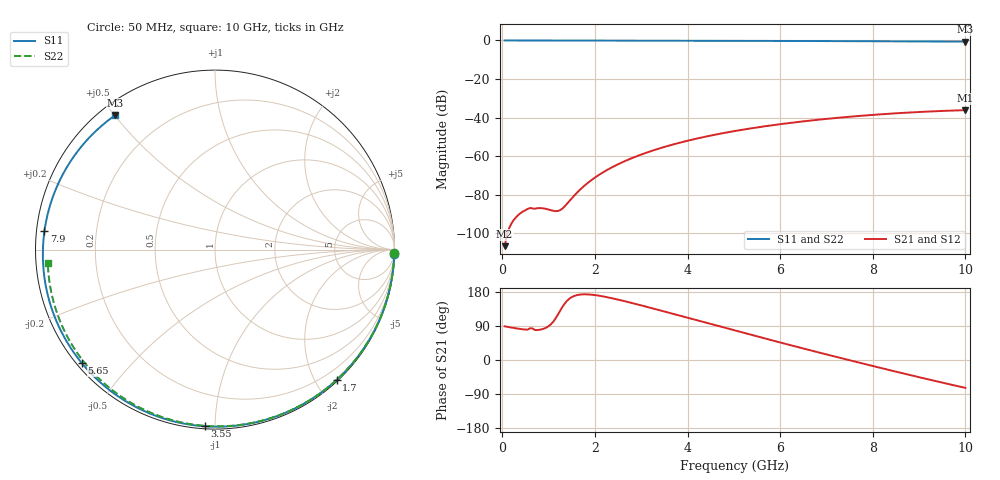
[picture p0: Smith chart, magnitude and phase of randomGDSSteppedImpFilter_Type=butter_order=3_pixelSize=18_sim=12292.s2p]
! freq	dB(S11)	phase(S11)	dB(S12)	phase(S12)
!  dB(S21)	phase(S21)	dB(S22)	phase(S22)
!S-par simulation data
#  GHz  S  DB  R 50
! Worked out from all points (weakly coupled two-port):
!   200 points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, 50 MHz to 10 GHz, reference 50 ohm
!   highest |S21| = -36.11 dB at 10 GHz (marker M1); lowest = -106.6 dB at 50 MHz (marker M2)
!   lowest |S11| = -0.6 dB at 10 GHz (marker M3), VSWR 28.63, Z = 2.19 + j25.2 ohm
!   |S11| at or under -10 dB: nowhere
!   |S22| runs from -0.6 to 0.0 dB; largest |S21 - S12| = 0
!   S11 on the Smith chart (normalised r, x): 50 MHz: 1, -83; 1.7 GHz: 0.02, -2.30; 3.55 GHz: 0.01, -0.94; 5.65 GHz: 0.01, -0.37; 7.9 GHz: 0.02, +0.05; 10 GHz: 0.04, +0.50
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0.05  -0.00 -1.4  -106.61 88.9  -106.61 88.9  -0.00 -0.9
0.4  -0.02 -11.3  -89.39 81.7  -89.39 81.7  -0.01 -7.8
0.75  -0.03 -21.1  -86.94 79.0  -86.94 79.0  -0.02 -14.6
1.15  -0.04 -32.2  -88.46 109.5  -88.46 109.5  -0.03 -22.3
1.55  -0.05 -43.0  -80.49 168.8  -80.49 168.8  -0.04 -29.9
1.7  -0.06 -47.0  -76.85 172.9  -76.85 172.9  -0.04 -32.7
1.75  -0.06 -48.4  -75.76 173.3  -75.76 173.3  -0.04 -33.7
2.05  -0.07 -56.2  -70.25 170.4  -70.25 170.4  -0.05 -39.3
2.45  -0.08 -66.5  -64.75 160.8  -64.75 160.8  -0.06 -46.7
2.9  -0.10 -77.7  -60.02 147.3  -60.02 147.3  -0.07 -54.9
3.4  -0.12 -89.8  -55.90 131.2  -55.90 131.2  -0.08 -63.9
3.55  -0.12 -93.3  -54.83 126.3  -54.83 126.3  -0.09 -66.6
4.25  -0.15 -109.3  -50.58 103.2  -50.58 103.2  -0.11 -78.8
5.05  -0.19 -126.8  -46.82 76.9  -46.82 76.9  -0.14 -92.4
5.65  -0.22 -139.5  -44.55 57.4  -44.55 57.4  -0.17 -102.4
6.2  -0.26 -150.9  -42.78 39.8  -42.78 39.8  -0.20 -111.4
6.7  -0.29 -161.2  -41.39 24.1  -41.39 24.1  -0.24 -119.5
7.3  -0.34 -173.7  -39.96 5.5  -39.96 5.5  -0.28 -129.2
7.9  -0.39 173.7  -38.75 -12.8  -38.75 -12.8  -0.33 -139.0
8.35  -0.44 164.1  -37.99 -26.3  -37.99 -26.3  -0.38 -146.5
9.15  -0.52 146.4  -36.90 -49.7  -36.90 -49.7  -0.47 -160.1
10  -0.61 126.5  -36.11 -73.6  -36.11 -73.6  -0.59 -175.4
